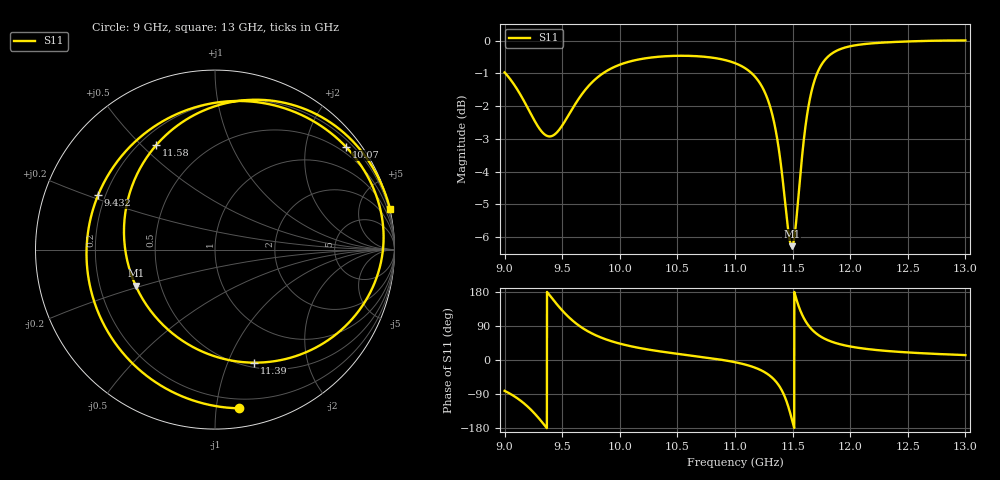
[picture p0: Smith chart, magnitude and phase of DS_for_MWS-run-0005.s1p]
! TOUCHSTONE file generated by CST DESIGN STUDIO
! Date and time: Tue Feb  4 16:19:25 2025
! Project name: C:\Work\MatlabApps\UnitCellOptimizationMatlab\CST\unitcell.cst
! Tree item: Tasks\Sweep1\SPara1\S-Parameters
! Header version: 2024
! Port assignment regex: !\s*Touchstone port\s*([0-9]+)\s*=\s*(CST MWS port|CST DES external port|CST DES block port)\s*(.+)\s* \(\"(.*)\"\)(\s*mode\s*([0-9]+))?.*
! Touchstone port assignment:
! Touchstone port 1 = CST DES external port 1 ("")
# GHz S MA R 50
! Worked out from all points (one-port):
!   4001 points, 9 GHz to 13 GHz, reference 50 ohm
!   lowest |S11| = -6.3 dB at 11.49 GHz (marker M1), VSWR 2.89, Z = 18 - j9.48 ohm
!   |S11| at or under -10 dB: nowhere
!   S11 on the Smith chart (normalised r, x): 9 GHz: 0.13, -1.15; 9.432 GHz: 0.17, +0.21; 10.07 GHz: 0.35, +2.85; 11.39 GHz: 0.55, -1.25; 11.58 GHz: 0.26, +0.55; 13 GHz: -0.02, +8.82
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9  0.8944 -81.4
9.113  0.8406 -101.6
9.208  0.7848 -125.1
9.328  0.7244 -165.1
9.432  0.7186 155.1
9.5  0.742 130.8
9.584  0.7848 105.6
9.679  0.8319 83.8
9.828  0.8849 60.4
10  0.919 43.2
10.068  0.9274 38.2
10.5  0.9481 16.4
11  0.924 -5.8
11.143  0.8923 -16.9
11.245  0.8438 -30.0
11.323  0.7719 -46.7
11.389  0.6662 -71.0
11.443  0.5496 -105.4
11.493  0.4856 -155.5
11.5  0.4871 -163.5
11.539  0.5481 154.5
11.583  0.6679 119.3
11.652  0.8181 85.7
11.756  0.922 59.7
11.859  0.9603 46.2
12  0.9805 35.7
12.5  0.9972 20.0
13  1.001 12.9
